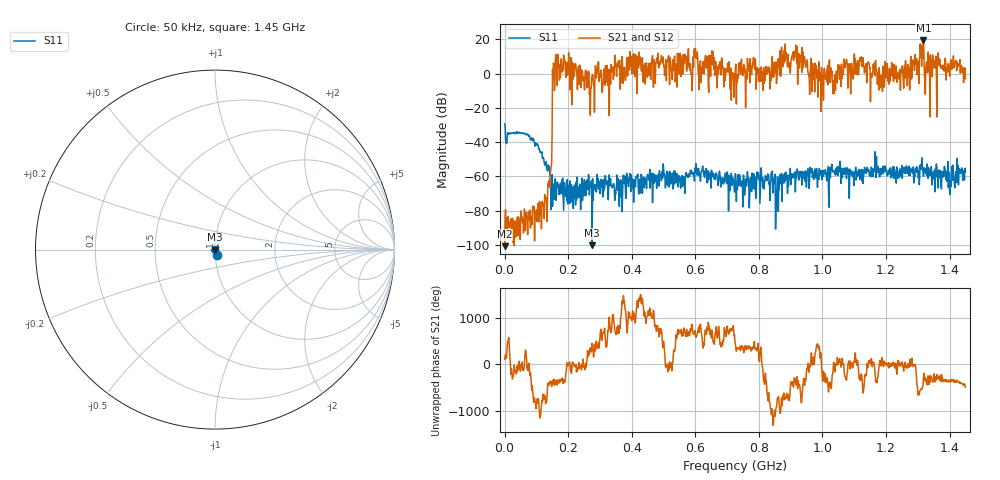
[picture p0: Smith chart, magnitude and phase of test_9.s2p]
! Created with skrf 1.11.0 (http://scikit-rf.org).
# Hz S RI R 50.0
!freq ReS11 ImS11 ReS21 ImS21 ReS12 ImS12 ReS22 ImS22
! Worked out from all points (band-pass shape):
!   1001 points, 50 kHz to 1.45 GHz, reference 50 ohm
!   highest |S21| = 19.41 dB at 1.318 GHz (marker M1); lowest = -100.7 dB at 50 kHz (marker M2)
!   |S21| within 3 dB of the highest: 882.9337 MHz to 883.2472 MHz (313.6 kHz wide, 0.0355 % of centre); 916.3582 MHz to 916.5037 MHz (145.4 kHz wide, 0.0159 % of centre) (the widest 2 of 6)
!   lowest |S11| = -100.1 dB at 275.5 MHz (marker M3), VSWR 1.00, Z = 50 - j0.0009 ohm
!   |S11| at or under -10 dB: start of sweep to end of sweep
!   |S22| runs from - to - dB; largest |S21 - S12| = 0
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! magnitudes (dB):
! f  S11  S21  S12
! 50 kHz  -29.3  -100.7  -100.7
! 72.55 MHz  -35.6  -94.0  -94.0
! 127.6 MHz  -53.5  -74.0  -74.0
! 140.7 MHz  -54.4  -62.4  -62.4
! 156.6 MHz  -68.3  -9.9  -9.9
! 161 MHz  -67.1  11.2  11.2
! 242.2 MHz  -71.8  1.2  1.2
! 275.5 MHz  -100.1  -3.5  -3.5
! 291.5 MHz  -58.8  0.5  0.5
! 484.3 MHz  -58.7  4.1  4.1
! 587.3 MHz  -56.3  -0.8  -0.8
! 600.3 MHz  -57.8  14.9  14.9
! 616.3 MHz  -62.8  7.6  7.6
! 651.1 MHz  -56.4  7.5  7.5
! 725 MHz  -62.1  -3.7  -3.7
! 913.5 MHz  -57.3  10.5  10.5
! 967.2 MHz  -55.5  -10.4  -10.4
! 1.04 GHz  -58.4  -3.0  -3.0
! 1.122 GHz  -57.4  9.9  9.9
! 1.209 GHz  -58.1  -6.1  -6.1
! 1.318 GHz  -59.8  19.4  19.4
! 1.45 GHz  -57.3  -2.9  -2.9
